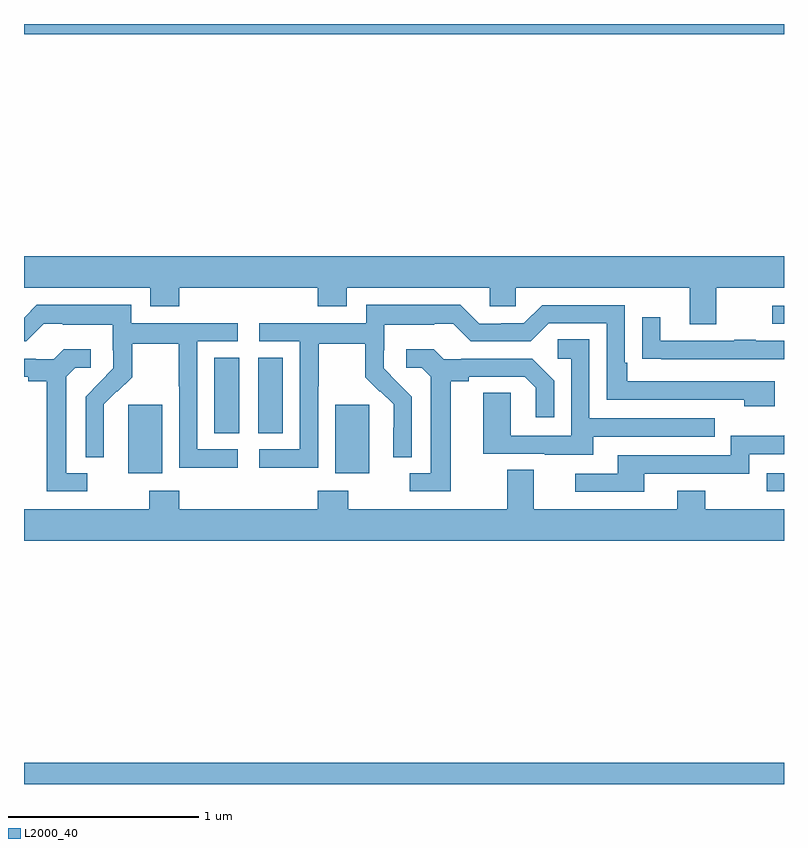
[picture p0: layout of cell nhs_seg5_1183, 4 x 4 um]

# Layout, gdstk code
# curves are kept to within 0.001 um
import gdstk
lib = gdstk.Library(unit=1e-6, precision=1e-09)
def R(c, l, rs):  # rectangles x0, y0, x1, y1
    for r in rs: c.add(gdstk.rectangle(r[:2], r[2:], *l))
def P(c, l, *ps):  # polygons
    for p in ps: c.add(gdstk.Polygon(p, *l))
L2000_40 = (2000, 40)

nhs_seg5_1183 = lib.new_cell('nhs_seg5_1183')
R(nhs_seg5_1183, L2000_40, [(183,868.799,187,868.912), (186.909,870.339,187,870.435), (183.548,870.434,183.727,870.795), (184.637,870.434,184.816,870.795), (184.001,870.646,184.132,871.043), (184.232,870.646,184.363,871.043), (186.939,871.221,187,871.317), (183,872.744,187,872.799)])
P(nhs_seg5_1183, L2000_40, [(186.643,871.412),(187,871.412),(187,871.576),(183,871.576),(183,871.412),(183.665,871.412),(183.665,871.313),(183.818,871.313),(183.818,871.412),(184.547,871.412),(184.547,871.313),(184.699,871.313),(184.699,871.412),(185.451,871.412),(185.451,871.314),(185.589,871.314),(185.589,871.412),(186.503,871.412),(186.503,871.218),(186.643,871.218)],
  [(184.548,870.892),(184.551,870.892),(184.551,871.116),(184.795,871.116),(184.795,870.941),(184.872,870.864),(184.875,870.867),(184.946,870.797),(184.946,870.674),(184.944,870.674),(184.944,870.52),(185.04,870.52),(185.04,870.838),(184.894,870.986),(184.894,871.083),(184.896,871.083),(184.896,871.217),(185.159,871.217),(185.159,871.221),(185.259,871.221),(185.352,871.128),(185.667,871.128),(185.763,871.224),(186.066,871.224),(186.066,870.822),(186.791,870.822),(186.791,870.788),(186.952,870.788),(186.952,870.918),(186.175,870.918),(186.175,871.015),(186.162,871.015),(186.162,871.32),(185.727,871.32),(185.631,871.224),(185.513,871.224),(185.513,871.221),(185.397,871.221),(185.297,871.321),(184.8,871.321),(184.8,871.224),(184.239,871.224),(184.239,871.128),(184.452,871.128),(184.452,870.561),(184.239,870.561),(184.239,870.463),(184.548,870.463)],
  [(184.126,870.561),(183.912,870.561),(183.912,871.128),(184.126,871.128),(184.126,871.224),(183.564,871.224),(183.564,871.321),(183.067,871.321),(183,871.254),(183,871.128),(183.012,871.128),(183.105,871.221),(183.205,871.221),(183.205,871.217),(183.468,871.217),(183.468,871.083),(183.47,871.083),(183.47,870.986),(183.324,870.838),(183.324,870.52),(183.42,870.52),(183.419,870.797),(183.489,870.867),(183.492,870.864),(183.569,870.941),(183.569,871.116),(183.814,871.116),(183.814,870.892),(183.816,870.892),(183.816,870.463),(184.126,870.463)],
  [(187,871.131),(186.851,871.131),(186.851,871.136),(186.739,871.136),(186.739,871.131),(186.349,871.131),(186.349,871.255),(186.253,871.255),(186.253,871.036),(186.355,871.036),(186.355,871.035),(187,871.035)],
  [(185.995,870.627),(186.635,870.627),(186.635,870.723),(185.976,870.723),(185.976,871.139),(185.808,871.139),(185.808,871.038),(185.88,871.038),(185.88,870.633),(185.562,870.633),(185.562,870.857),(185.417,870.857),(185.417,870.537),(185.741,870.537),(185.741,870.533),(185.995,870.533)],
  [(185.245,870.92),(185.341,870.92),(185.341,870.942),(185.636,870.942),(185.693,870.885),(185.693,870.729),(185.79,870.729),(185.79,870.922),(185.674,871.038),(185.302,871.038),(185.302,871.035),(185.208,871.035),(185.156,871.087),(185.013,871.087),(185.013,870.99),(185.094,870.99),(185.141,870.943),(185.141,870.435),(185.031,870.435),(185.031,870.339),(185.245,870.339)],
  [(183.334,870.435),(183.223,870.435),(183.223,870.943),(183.27,870.99),(183.352,870.99),(183.352,871.087),(183.208,871.087),(183.156,871.035),(183.062,871.035),(183.062,871.038),(183,871.038),(183,870.942),(183.023,870.942),(183.023,870.92),(183.119,870.92),(183.119,870.339),(183.334,870.339)],
  [(186.265,870.432),(186.816,870.432),(186.816,870.534),(187,870.534),(187,870.634),(186.997,870.631),(186.72,870.631),(186.72,870.528),(186.125,870.528),(186.125,870.432),(185.901,870.432),(185.901,870.336),(186.265,870.336)],
  [(187,870.244),(186.585,870.244),(186.585,870.343),(186.437,870.343),(186.437,870.244),(185.683,870.244),(185.683,870.452),(185.543,870.452),(185.543,870.244),(184.707,870.244),(184.707,870.343),(184.547,870.343),(184.547,870.244),(183.818,870.244),(183.818,870.343),(183.658,870.343),(183.658,870.244),(183,870.244),(183,870.08),(187,870.08)])

lib.write_gds('nhs_seg5_1183.gds')
